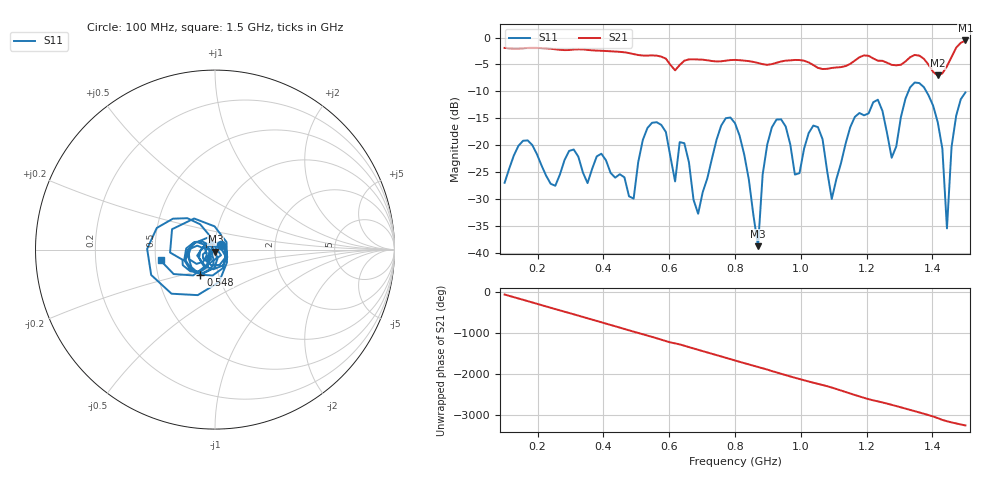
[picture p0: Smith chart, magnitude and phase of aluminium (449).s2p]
! NanoVNA-App
! Date: 2025-09-25 14:58:46
! Start: 100MHz Stop: 1,5GHz Points: 101
! S-Parameter data: F S11 S21 S12 S22
# Hz S RI R 50
!  Frequency  S11_Real  S11_Imag  S21_Real  S21_Imag  S12_Real  S12_Imag  S22_Real  S22_Imag
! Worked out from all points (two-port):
!   101 points, 100 MHz to 1.5 GHz, reference 50 ohm
!   highest |S21| = -0.54 dB at 1.5 GHz (marker M1); lowest = -7.0 dB at 1.416 GHz (marker M2)
!   |S21| within 3 dB of the highest: start of sweep to 575.9 MHz; 1.459 GHz to end of sweep (the widest 2 of 4)
!   lowest |S11| = -38.7 dB at 870 MHz (marker M3), VSWR 1.02, Z = 50.2 - j1.14 ohm
!   |S11| at or under -10 dB: start of sweep to 1.327 GHz; 1.381 GHz to end of sweep
!   S12 and S22 are empty: the file has one direction only
!   S11 on the Smith chart (normalised r, x): 100 MHz: 1.07, +0.06; 548 MHz: 0.82, -0.23; 1.5 GHz: 0.53, -0.07
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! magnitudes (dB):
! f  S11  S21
! 100 MHz  -27.0  -1.9
! 156 MHz  -19.2  -2.0
! 338 MHz  -25.1  -2.2
! 492 MHz  -29.9  -3.1
! 548 MHz  -15.8  -3.3
! 576 MHz  -16.2  -3.5
! 618 MHz  -26.7  -6.1
! 646 MHz  -19.6  -4.3
! 688 MHz  -32.7  -4.1
! 800 MHz  -15.9  -4.1
! 870 MHz  -38.7  -4.7
! 912 MHz  -16.7  -4.9
! 982 MHz  -25.4  -4.2
! 1.038 GHz  -16.3  -5.1
! 1.094 GHz  -30.0  -5.6
! 1.22 GHz  -12.0  -3.9
! 1.276 GHz  -22.3  -5.1
! 1.346 GHz  -8.3  -3.2
! 1.416 GHz  -15.7  -7.0
! 1.444 GHz  -35.4  -5.3
! 1.458 GHz  -20.3  -3.6
! 1.5 GHz  -10.2  -0.5
